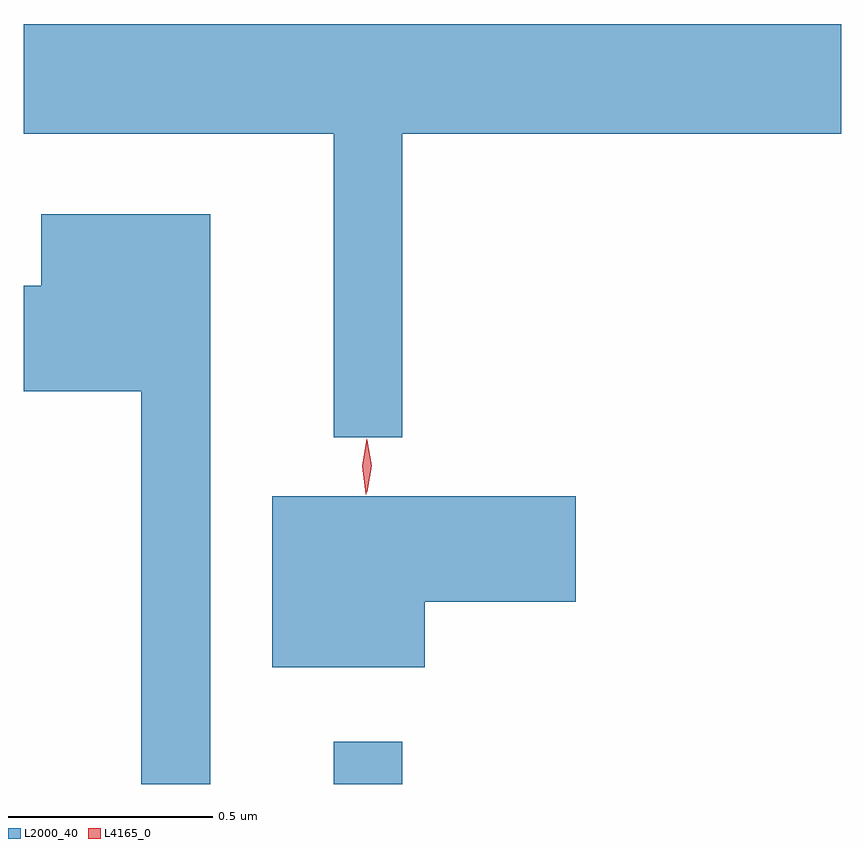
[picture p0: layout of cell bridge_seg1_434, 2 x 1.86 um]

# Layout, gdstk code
import gdstk
lib = gdstk.Library(unit=1e-6, precision=1e-09)
def R(c, l, rs):  # rectangles x0, y0, x1, y1
    for r in rs: c.add(gdstk.rectangle(r[:2], r[2:], *l))
def P(c, l, *ps):  # polygons
    for p in ps: c.add(gdstk.Polygon(p, *l))
L2000_40 = (2000, 40)
L4165_0 = (4165, 0)

bridge_seg1_434 = lib.new_cell('bridge_seg1_434')
R(bridge_seg1_434, L2000_40, [(319.241,940.165,319.409,940.268)])
P(bridge_seg1_434, L2000_40, [(319.409,941.756),(320.483,941.756),(320.483,942.024),(318.483,942.024),(318.483,941.756),(319.241,941.756),(319.241,941.013),(319.409,941.013)],
  [(318.939,941.559),(318.526,941.559),(318.526,941.384),(318.483,941.384),(318.483,941.126),(318.771,941.126),(318.771,940.165),(318.939,940.165)],
  [(319.464,940.611),(319.834,940.611),(319.834,940.869),(319.091,940.869),(319.091,940.451),(319.464,940.451)])
P(bridge_seg1_434, L4165_0, [(319.323,940.88),(319.314,940.943),(319.323,941.006),(319.324,941.007),(319.324,941.006),(319.334,940.943),(319.324,940.88),(319.324,940.88)],
  [(319.32,940.874),(319.32,940.874),(319.311,940.942),(319.322,941.01),(319.322,941.01),(319.322,941.01),(319.331,940.942),(319.321,940.874)])

lib.write_gds('bridge_seg1_434.gds')
